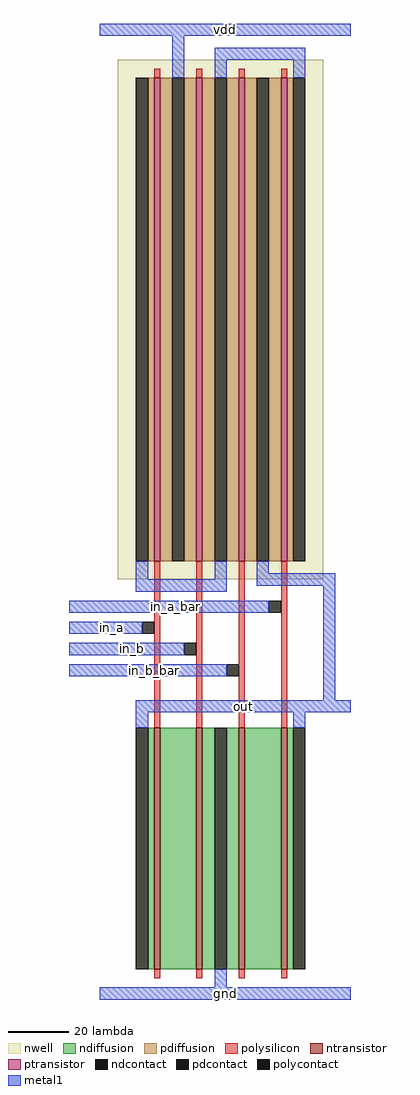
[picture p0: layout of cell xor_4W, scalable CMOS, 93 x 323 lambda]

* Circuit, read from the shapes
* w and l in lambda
.subckt xor_4W gnd in_a in_a_bar in_b in_b_bar out vdd
M1 n1 in_a out VSUBS nfet w=80 l=2
M2 gnd in_b n1 VSUBS nfet w=80 l=2
M3 n2 in_b_bar gnd VSUBS nfet w=80 l=2
M4 out in_a_bar n2 VSUBS nfet w=80 l=2
M5 vdd in_a n3 n4 pfet w=160 l=2
M6 n3 in_b vdd n4 pfet w=160 l=2
M7 out in_b_bar n3 n4 pfet w=160 l=2
M8 n3 in_a_bar out n4 pfet w=160 l=2
.ends

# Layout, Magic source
magic
tech scmos
<< nwell >>
rect -21 -12 47 160
<< ntransistor >>
rect -9 -141 -7 -61
rect 5 -141 7 -61
rect 19 -141 21 -61
rect 33 -141 35 -61
<< ptransistor >>
rect -9 -6 -7 154
rect 5 -6 7 154
rect 19 -6 21 154
rect 33 -6 35 154
<< ndiffusion >>
rect -11 -141 -9 -61
rect -7 -141 5 -61
rect 7 -141 11 -61
rect 15 -141 19 -61
rect 21 -141 33 -61
rect 35 -141 37 -61
<< pdiffusion >>
rect -11 -6 -9 154
rect -7 -6 -3 154
rect 1 -6 5 154
rect 7 -6 11 154
rect 15 -6 19 154
rect 21 -6 25 154
rect 29 -6 33 154
rect 35 -6 37 154
<< ndcontact >>
rect -15 -141 -11 -61
rect 11 -141 15 -61
rect 37 -141 41 -61
<< pdcontact >>
rect -15 -6 -11 154
rect -3 -6 1 154
rect 11 -6 15 154
rect 25 -6 29 154
rect 37 -6 41 154
<< polysilicon >>
rect -9 154 -7 157
rect 5 154 7 157
rect 19 154 21 157
rect 33 154 35 157
rect -9 -61 -7 -6
rect 5 -61 7 -6
rect 19 -61 21 -6
rect 33 -61 35 -6
rect -9 -144 -7 -141
rect 5 -144 7 -141
rect 19 -144 21 -141
rect 33 -144 35 -141
<< polycontact >>
rect -13 -30 -9 -26
rect 1 -37 5 -33
rect 15 -44 19 -40
rect 29 -23 33 -19
<< metal1 >>
rect -27 168 56 172
rect -3 154 1 168
rect 11 160 41 164
rect 11 154 15 160
rect 37 154 41 160
rect -15 -12 -11 -6
rect 11 -12 15 -6
rect -15 -16 15 -12
rect 25 -10 29 -6
rect 25 -14 51 -10
rect -37 -23 29 -19
rect -37 -30 -13 -26
rect -37 -37 1 -33
rect -37 -44 15 -40
rect 47 -52 51 -14
rect -15 -56 56 -52
rect -15 -61 -11 -56
rect 37 -61 41 -56
rect 11 -147 15 -141
rect -27 -151 56 -147
<< labels >>
rlabel metal1 -27 168 56 172 5 vdd
rlabel metal1 -27 -151 56 -147 1 gnd
rlabel metal1 -15 -56 56 -52 1 out
rlabel metal1 -37 -23 33 -19 1 in_a_bar
rlabel metal1 -37 -30 -9 -26 1 in_a
rlabel metal1 -37 -37 5 -33 1 in_b
rlabel metal1 -37 -44 19 -40 1 in_b_bar
<< end >>
